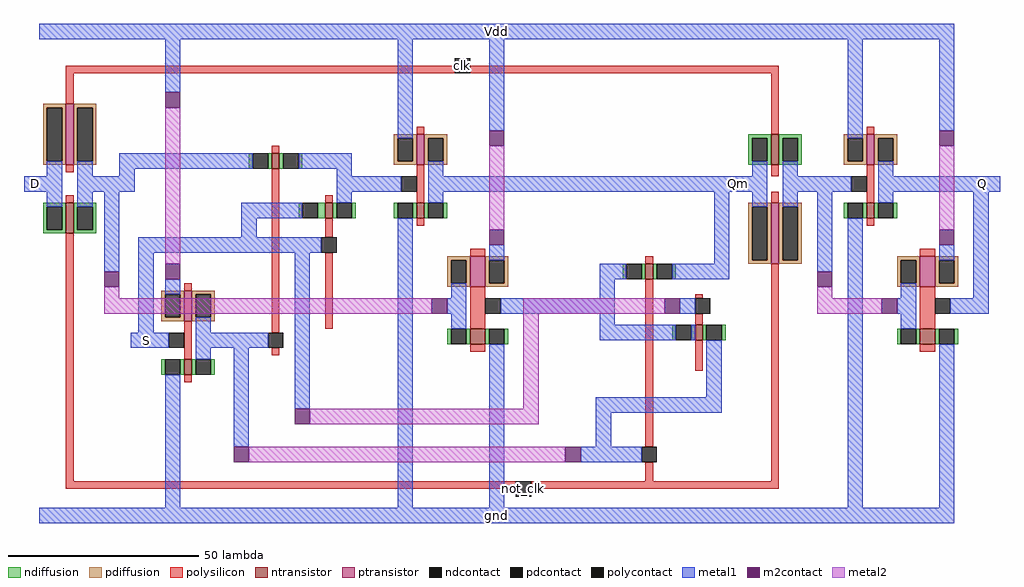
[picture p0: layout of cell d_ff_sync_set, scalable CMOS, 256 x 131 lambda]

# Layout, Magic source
magic
tech scmos
<< polysilicon >>
rect -124 22 -22 24
rect -18 22 63 24
rect -124 14 -122 22
rect -32 6 -30 8
rect 61 6 63 22
rect 86 6 88 8
rect -70 1 -68 3
rect -124 -4 -122 -2
rect -124 -12 -122 -10
rect -124 -85 -122 -20
rect -93 -35 -91 -33
rect -93 -53 -91 -43
rect -70 -46 -68 -3
rect -56 -12 -54 -10
rect -32 -12 -30 -2
rect 61 -5 63 -2
rect 61 -12 63 -9
rect 86 -12 88 -2
rect -56 -21 -54 -16
rect -32 -18 -30 -16
rect -56 -45 -54 -25
rect -18 -26 -14 -24
rect 28 -28 30 -26
rect 86 -18 88 -16
rect 100 -26 104 -24
rect -18 -45 -14 -34
rect -70 -52 -68 -50
rect -18 -51 -14 -49
rect -93 -59 -91 -57
rect 28 -76 30 -32
rect 41 -37 43 -36
rect 41 -44 43 -41
rect 41 -56 43 -48
rect 28 -85 30 -80
rect 61 -85 63 -28
rect 100 -45 104 -34
rect 100 -51 104 -49
rect -124 -87 -6 -85
rect -2 -87 63 -85
<< ndiffusion >>
rect -76 -3 -75 1
rect -71 -3 -70 1
rect -68 -3 -67 1
rect -63 -3 -62 1
rect 55 5 61 6
rect 55 -1 56 5
rect 60 -1 61 5
rect 55 -2 61 -1
rect 63 5 69 6
rect 63 -1 64 5
rect 68 -1 69 5
rect 63 -2 69 -1
rect -130 -13 -124 -12
rect -130 -19 -129 -13
rect -125 -19 -124 -13
rect -130 -20 -124 -19
rect -122 -13 -116 -12
rect -122 -19 -121 -13
rect -117 -19 -116 -13
rect -122 -20 -116 -19
rect -63 -16 -62 -12
rect -58 -16 -56 -12
rect -54 -16 -53 -12
rect -49 -16 -48 -12
rect -38 -16 -37 -12
rect -33 -16 -32 -12
rect -30 -16 -29 -12
rect -25 -16 -24 -12
rect 80 -16 81 -12
rect 85 -16 86 -12
rect 88 -16 89 -12
rect 93 -16 94 -12
rect 22 -32 23 -28
rect 27 -32 28 -28
rect 30 -32 31 -28
rect 35 -32 36 -28
rect -24 -49 -23 -45
rect -19 -49 -18 -45
rect -14 -49 -13 -45
rect -9 -49 -8 -45
rect -99 -57 -98 -53
rect -94 -57 -93 -53
rect -91 -57 -90 -53
rect -86 -57 -85 -53
rect 35 -48 36 -44
rect 40 -48 41 -44
rect 43 -48 44 -44
rect 48 -48 49 -44
rect 94 -49 95 -45
rect 99 -49 100 -45
rect 104 -49 105 -45
rect 109 -49 110 -45
<< pdiffusion >>
rect -130 13 -124 14
rect -130 -1 -129 13
rect -125 -1 -124 13
rect -130 -2 -124 -1
rect -122 13 -116 14
rect -122 -1 -121 13
rect -117 -1 -116 13
rect -38 5 -32 6
rect -122 -2 -116 -1
rect -38 -1 -37 5
rect -33 -1 -32 5
rect -38 -2 -32 -1
rect -30 5 -24 6
rect -30 -1 -29 5
rect -25 -1 -24 5
rect -30 -2 -24 -1
rect 80 5 86 6
rect 80 -1 81 5
rect 85 -1 86 5
rect 80 -2 86 -1
rect 88 5 94 6
rect 88 -1 89 5
rect 93 -1 94 5
rect 88 -2 94 -1
rect -99 -36 -93 -35
rect -99 -42 -98 -36
rect -94 -42 -93 -36
rect -99 -43 -93 -42
rect -91 -36 -85 -35
rect -91 -42 -90 -36
rect -86 -42 -85 -36
rect -91 -43 -85 -42
rect 55 -13 61 -12
rect -24 -27 -18 -26
rect -24 -33 -23 -27
rect -19 -33 -18 -27
rect -24 -34 -18 -33
rect -14 -27 -8 -26
rect -14 -33 -13 -27
rect -9 -33 -8 -27
rect 55 -27 56 -13
rect 60 -27 61 -13
rect 55 -28 61 -27
rect 63 -13 69 -12
rect 63 -27 64 -13
rect 68 -27 69 -13
rect 63 -28 69 -27
rect 94 -27 100 -26
rect -14 -34 -8 -33
rect 94 -33 95 -27
rect 99 -33 100 -27
rect 94 -34 100 -33
rect 104 -27 110 -26
rect 104 -33 105 -27
rect 109 -33 110 -27
rect 104 -34 110 -33
<< metal1 >>
rect -131 31 109 35
rect -98 17 -94 31
rect -129 -5 -125 -1
rect -135 -9 -125 -5
rect -129 -13 -125 -9
rect -37 5 -33 31
rect -13 7 -9 31
rect -121 -5 -117 -1
rect -110 -3 -75 1
rect -63 -3 -49 1
rect 81 5 85 31
rect 105 7 109 31
rect -110 -5 -106 -3
rect -121 -9 -106 -5
rect -53 -5 -49 -3
rect -29 -5 -25 -1
rect 56 -5 60 -1
rect -53 -9 -36 -5
rect -29 -9 60 -5
rect -121 -13 -117 -9
rect -114 -30 -110 -9
rect -53 -12 -49 -9
rect -29 -12 -25 -9
rect -78 -16 -62 -12
rect -78 -21 -74 -16
rect -105 -25 -57 -21
rect -105 -46 -101 -25
rect -98 -36 -94 -32
rect -90 -46 -86 -42
rect -107 -50 -97 -46
rect -90 -50 -71 -46
rect -90 -53 -86 -50
rect -98 -92 -94 -57
rect -80 -76 -76 -50
rect -64 -66 -60 -25
rect -37 -92 -33 -16
rect -13 -27 -9 -23
rect 46 -28 50 -9
rect 56 -13 60 -9
rect 64 -5 68 -1
rect 89 -5 93 -1
rect 64 -9 82 -5
rect 89 -9 121 -5
rect 64 -13 68 -9
rect 16 -32 23 -28
rect 35 -32 50 -28
rect 73 -30 77 -9
rect 89 -12 93 -9
rect -23 -37 -19 -33
rect 16 -37 20 -32
rect -24 -41 -19 -37
rect -10 -41 20 -37
rect 37 -41 41 -37
rect -23 -45 -19 -41
rect 16 -44 20 -41
rect 16 -48 36 -44
rect 40 -48 41 -44
rect -13 -92 -9 -49
rect 44 -63 48 -48
rect 15 -67 48 -63
rect 15 -76 19 -67
rect 11 -80 27 -76
rect 81 -92 85 -16
rect 105 -27 109 -23
rect 95 -37 99 -33
rect 114 -37 118 -9
rect 94 -41 99 -37
rect 108 -41 118 -37
rect 95 -45 99 -41
rect 105 -92 109 -49
rect -131 -96 109 -92
<< metal2 >>
rect -98 -28 -94 13
rect -13 -19 -9 3
rect 105 -19 109 3
rect -114 -37 -110 -34
rect 73 -37 77 -34
rect -114 -41 -28 -37
rect -4 -41 33 -37
rect 73 -41 90 -37
rect -4 -66 0 -41
rect -60 -70 0 -66
rect -76 -80 7 -76
<< ntransistor >>
rect -70 -3 -68 1
rect 61 -2 63 6
rect -124 -20 -122 -12
rect -56 -16 -54 -12
rect -32 -16 -30 -12
rect 86 -16 88 -12
rect 28 -32 30 -28
rect -18 -49 -14 -45
rect -93 -57 -91 -53
rect 41 -48 43 -44
rect 100 -49 104 -45
<< ptransistor >>
rect -124 -2 -122 14
rect -32 -2 -30 6
rect 86 -2 88 6
rect -93 -43 -91 -35
rect -18 -34 -14 -26
rect 61 -28 63 -12
rect 100 -34 104 -26
<< polycontact >>
rect -22 22 -18 26
rect -97 -50 -93 -46
rect -36 -9 -32 -5
rect 82 -9 86 -5
rect -57 -25 -53 -21
rect -14 -41 -10 -37
rect -71 -50 -67 -46
rect 41 -41 45 -37
rect 27 -80 31 -76
rect 104 -41 108 -37
rect -6 -89 -2 -85
<< ndcontact >>
rect -75 -3 -71 1
rect -67 -3 -63 1
rect 56 -1 60 5
rect 64 -1 68 5
rect -129 -19 -125 -13
rect -121 -19 -117 -13
rect -62 -16 -58 -12
rect -53 -16 -49 -12
rect -37 -16 -33 -12
rect -29 -16 -25 -12
rect 81 -16 85 -12
rect 89 -16 93 -12
rect 23 -32 27 -28
rect 31 -32 35 -28
rect -23 -49 -19 -45
rect -13 -49 -9 -45
rect -98 -57 -94 -53
rect -90 -57 -86 -53
rect 36 -48 40 -44
rect 44 -48 48 -44
rect 95 -49 99 -45
rect 105 -49 109 -45
<< pdcontact >>
rect -129 -1 -125 13
rect -121 -1 -117 13
rect -37 -1 -33 5
rect -29 -1 -25 5
rect 81 -1 85 5
rect 89 -1 93 5
rect -98 -42 -94 -36
rect -90 -42 -86 -36
rect -23 -33 -19 -27
rect -13 -33 -9 -27
rect 56 -27 60 -13
rect 64 -27 68 -13
rect 95 -33 99 -27
rect 105 -33 109 -27
<< m2contact >>
rect -98 13 -94 17
rect -13 3 -9 7
rect -114 -34 -110 -30
rect -98 -32 -94 -28
rect -64 -70 -60 -66
rect -80 -80 -76 -76
rect -13 -23 -9 -19
rect 105 3 109 7
rect 73 -34 77 -30
rect -28 -41 -24 -37
rect 33 -41 37 -37
rect 7 -80 11 -76
rect 105 -23 109 -19
rect 90 -41 94 -37
<< labels >>
rlabel metal1 49 -9 56 -5 0 Qm
rlabel metal1 112 -9 121 -5 0 Q
rlabel metal1 -135 -9 -129 -5 0 D
rlabel polycontact -22 22 -18 26 0 clk
rlabel metal1 -107 -50 -99 -46 0 S
rlabel polycontact -6 -89 -2 -85 0 not_clk
rlabel metal1 -131 31 109 35 0 Vdd
rlabel metal1 -131 -96 109 -92 0 gnd
<< end >>
